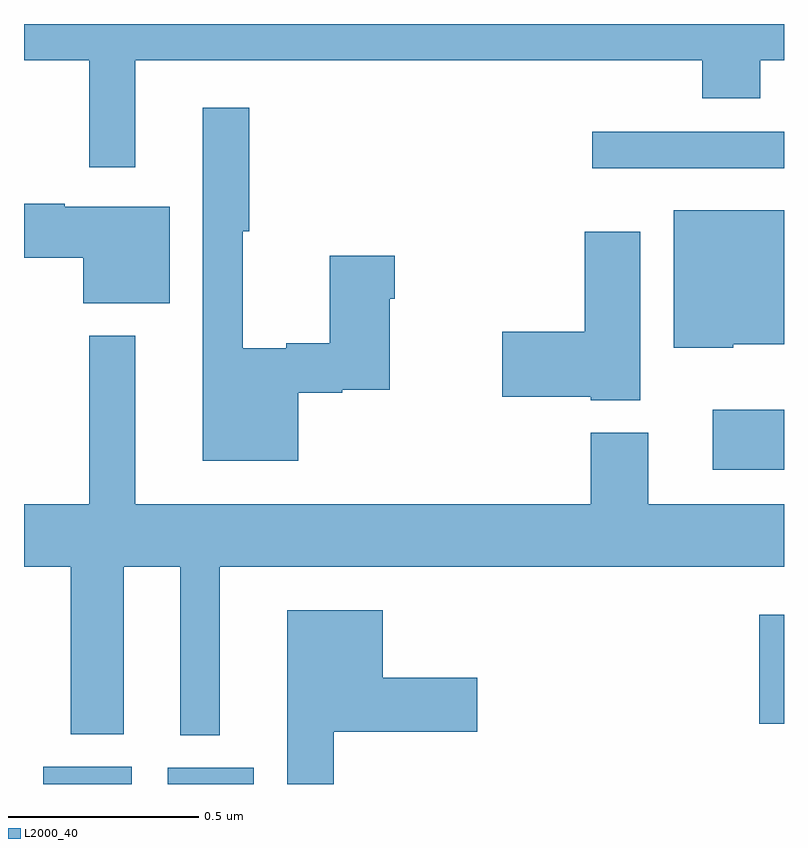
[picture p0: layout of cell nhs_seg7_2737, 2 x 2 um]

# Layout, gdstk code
import gdstk
lib = gdstk.Library(unit=1e-6, precision=1e-09)
def R(c, l, rs):  # rectangles x0, y0, x1, y1
    for r in rs: c.add(gdstk.rectangle(r[:2], r[2:], *l))
def P(c, l, *ps):  # polygons
    for p in ps: c.add(gdstk.Polygon(p, *l))
L2000_40 = (2000, 40)

nhs_seg7_2737 = lib.new_cell('nhs_seg7_2737')
R(nhs_seg7_2737, L2000_40, [(149.051,1044,149.284,1044.046), (149.378,1044,149.605,1044.043), (150.935,1044.158,151,1044.445), (150.813,1044.827,151,1044.985), (150.495,1045.62,151,1045.716)])
P(nhs_seg7_2737, L2000_40, [(149,1045.904),(149.172,1045.904),(149.172,1045.623),(149.293,1045.623),(149.293,1045.904),(150.785,1045.904),(150.785,1045.805),(150.937,1045.805),(150.937,1045.904),(151,1045.904),(151,1046),(149,1046)],
  [(149.722,1045.03),(149.838,1045.03),(149.838,1045.037),(149.962,1045.037),(149.962,1045.277),(149.975,1045.277),(149.975,1045.39),(149.804,1045.39),(149.804,1045.16),(149.69,1045.16),(149.69,1045.147),(149.575,1045.147),(149.575,1045.455),(149.593,1045.455),(149.593,1045.78),(149.471,1045.78),(149.471,1044.851),(149.722,1044.851)],
  [(149.383,1045.519),(149.107,1045.519),(149.107,1045.527),(149,1045.527),(149,1045.385),(149.156,1045.385),(149.156,1045.265),(149.383,1045.265)],
  [(150.867,1045.157),(151,1045.157),(151,1045.51),(150.71,1045.51),(150.71,1045.148),(150.867,1045.148)],
  [(150.622,1045.453),(150.476,1045.453),(150.476,1045.19),(150.258,1045.19),(150.258,1045.019),(150.492,1045.019),(150.492,1045.01),(150.622,1045.01)],
  [(149.515,1044.572),(151,1044.572),(151,1044.736),(150.643,1044.736),(150.643,1044.925),(150.491,1044.925),(150.491,1044.736),(149.293,1044.736),(149.293,1045.18),(149.172,1045.18),(149.172,1044.736),(149,1044.736),(149,1044.572),(149.123,1044.572),(149.123,1044.131),(149.263,1044.131),(149.263,1044.572),(149.411,1044.572),(149.411,1044.128),(149.515,1044.128)],
  [(149.815,1044.137),(150.193,1044.137),(150.193,1044.279),(149.944,1044.279),(149.944,1044.457),(149.693,1044.457),(149.693,1044),(149.815,1044)])

lib.write_gds('nhs_seg7_2737.gds')
